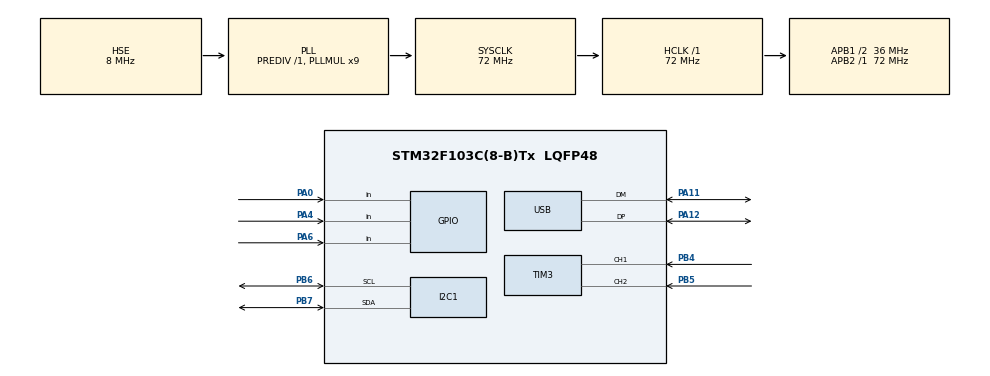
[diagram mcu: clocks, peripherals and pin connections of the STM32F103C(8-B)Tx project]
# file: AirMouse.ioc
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Mcu.Family=STM32F1
Mcu.Name=STM32F103C(8-B)Tx
Mcu.Package=LQFP48
NVIC.PriorityGroup=NVIC_PRIORITYGROUP_4
NVIC.TIM2_IRQn=true\:2\:0\:true\:false\:true\:true\:true\:true
NVIC.USB_HP_CAN1_TX_IRQn=true\:1\:0\:true\:false\:true\:true\:true\:true
NVIC.USB_LP_CAN1_RX0_IRQn=true\:0\:0\:false\:false\:true\:true\:true\:true
PA0-WKUP.GPIO_PuPd=GPIO_PULLUP
PA0-WKUP.Signal=GPIO_Input
PA11.Mode=Device
PA11.Signal=USB_DM
PA12.Mode=Device
PA12.Signal=USB_DP
PA13.Mode=Serial_Wire
PA13.Signal=SYS_JTMS-SWDIO
PA14.Mode=Serial_Wire
PA14.Signal=SYS_JTCK-SWCLK
PA4.GPIO_PuPd=GPIO_PULLUP
PA4.Signal=GPIO_Input
PA6.GPIO_PuPd=GPIO_PULLUP
PA6.Signal=GPIO_Input
PB4.Signal=S_TIM3_CH1
PB5.Signal=S_TIM3_CH2
PB6.Mode=I2C
PB6.Signal=I2C1_SCL
PB7.Mode=I2C
PB7.Signal=I2C1_SDA
PC14-OSC32_IN.Mode=LSE-External-Oscillator
PC14-OSC32_IN.Signal=RCC_OSC32_IN
PC15-OSC32_OUT.Mode=LSE-External-Oscillator
PC15-OSC32_OUT.Signal=RCC_OSC32_OUT
PD0-OSC_IN.Mode=HSE-External-Oscillator
PD0-OSC_IN.Signal=RCC_OSC_IN
PD1-OSC_OUT.Mode=HSE-External-Oscillator
PD1-OSC_OUT.Signal=RCC_OSC_OUT
ProjectManager.HeapSize=0x200
ProjectManager.StackSize=0x400
ProjectManager.TargetToolchain=CMake
RCC.AHBFreq_Value=72000000
RCC.APB1CLKDivider=RCC_HCLK_DIV2
RCC.APB1Freq_Value=36000000
RCC.APB1TimFreq_Value=72000000
RCC.APB2Freq_Value=72000000
RCC.APB2TimFreq_Value=72000000
RCC.HCLKFreq_Value=72000000
RCC.PLLMUL=RCC_PLL_MUL9
RCC.PLLSourceVirtual=RCC_PLLSOURCE_HSE
RCC.SYSCLKFreq_VALUE=72000000
RCC.SYSCLKSource=RCC_SYSCLKSOURCE_PLLCLK
RCC.USBFreq_Value=48000000
RCC.USBPrescaler=RCC_USBCLKSOURCE_PLL_DIV1_5
SH.S_TIM3_CH1.0=TIM3_CH1,Encoder_Interface
SH.S_TIM3_CH2.0=TIM3_CH2,Encoder_Interface
TIM2.AutoReloadPreload=TIM_AUTORELOAD_PRELOAD_ENABLE
TIM2.Period=99
TIM2.Prescaler=7199
USB_DEVICE.CLASS_NAME_FS=HID
USB_DEVICE.VirtualMode=Hid
USB_DEVICE.VirtualModeFS=Hid_FS
VP_TIM2_VS_ClockSourceINT.Mode=Internal
VP_USB_DEVICE_VS_USB_DEVICE_HID_FS.Mode=HID_FS
board=custom

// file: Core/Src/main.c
/* USER CODE BEGIN Header */
/**
  ******************************************************************************
  * @file           : main.c
  * @brief          : Main program body
  ******************************************************************************
  * @attention
  *
  * Copyright (c) 2026 STMicroelectronics.
  * All rights reserved.
  *
  * This software is licensed under terms that can be found in the LICENSE file
  * in the root directory of this software component.
  * If no LICENSE file comes with this software, it is provided AS-IS.
  *
  ******************************************************************************
  */
/* USER CODE END Header */
#include "main.h"
#include "i2c.h"
#include "tim.h"
#include "usb_device.h"
#include "gpio.h"

/* USER CODE BEGIN Includes */
#include "mpu6050.h"
#include "usbd_hid.h"
#include "mouse.h"
/* USER CODE END Includes */

/* USER CODE BEGIN PD */
// 空中鼠标参数
#define SENSITIVITY     13.6f     // 灵敏度（像素/度/秒），需实测调整
#define DT              0.01f    // 定时器周期 10ms = 0.01秒
#define DEAD_ZONE       1.5f     // 死区阈值（dps），小于此值忽略
/* USER CODE END PD */

/* USER CODE BEGIN PV */
extern USBD_HandleTypeDef hUsbDeviceFS;
/* USER CODE END PV */

void SystemClock_Config(void);
/* USER CODE BEGIN PFP */
//
//
/* USER CODE END PFP */

int main(void)
{

  /* MCU Configuration--------------------------------------------------------*/

  /* Reset of all peripherals, Initializes the Flash interface and the Systick. */
  HAL_Init();

  /* Configure the system clock */
  SystemClock_Config();

  /* Initialize all configured peripherals */
  MX_GPIO_Init();
  MX_I2C1_Init();
  MX_TIM2_Init();
  MX_USB_DEVICE_Init();
  MX_TIM3_Init();
  /* USER CODE BEGIN 2 */
  HAL_TIM_Encoder_Start(&htim3, TIM_CHANNEL_ALL);  // 启动编码器模式
  __HAL_TIM_SET_COUNTER(&htim3, 0);
  HAL_TIM_Base_Start_IT(&htim2);
            // 可选：计数器清零
  MPU6050_Init();
  MPU6050_Calibrate();
  Mahony_Init();

  /* USER CODE END 2 */

  /* Infinite loop */
  while (1)
  {
    //
    //
    //
    //
  }
}

void SystemClock_Config(void)
{
  RCC_OscInitTypeDef RCC_OscInitStruct = {0};
  RCC_ClkInitTypeDef RCC_ClkInitStruct = {0};
  RCC_PeriphCLKInitTypeDef PeriphClkInit = {0};

  /** Initializes the RCC Oscillators according to the specified parameters
  * in the RCC_OscInitTypeDef structure.
  */
  RCC_OscInitStruct.OscillatorType = RCC_OSCILLATORTYPE_HSE;
  RCC_OscInitStruct.HSEState = RCC_HSE_ON;
  RCC_OscInitStruct.HSEPredivValue = RCC_HSE_PREDIV_DIV1;
  RCC_OscInitStruct.HSIState = RCC_HSI_ON;
  RCC_OscInitStruct.PLL.PLLState = RCC_PLL_ON;
  RCC_OscInitStruct.PLL.PLLSource = RCC_PLLSOURCE_HSE;
  RCC_OscInitStruct.PLL.PLLMUL = RCC_PLL_MUL9;
  if (HAL_RCC_OscConfig(&RCC_OscInitStruct) != HAL_OK)
  {
    Error_Handler();
  }

  /** Initializes the CPU, AHB and APB buses clocks
  */
  RCC_ClkInitStruct.ClockType = RCC_CLOCKTYPE_HCLK|RCC_CLOCKTYPE_SYSCLK
                              |RCC_CLOCKTYPE_PCLK1|RCC_CLOCKTYPE_PCLK2;
  RCC_ClkInitStruct.SYSCLKSource = RCC_SYSCLKSOURCE_PLLCLK;
  RCC_ClkInitStruct.AHBCLKDivider = RCC_SYSCLK_DIV1;
  RCC_ClkInitStruct.APB1CLKDivider = RCC_HCLK_DIV2;
  RCC_ClkInitStruct.APB2CLKDivider = RCC_HCLK_DIV1;

  if (HAL_RCC_ClockConfig(&RCC_ClkInitStruct, FLASH_LATENCY_2) != HAL_OK)
  {
    Error_Handler();
  }
  PeriphClkInit.PeriphClockSelection = RCC_PERIPHCLK_USB;
  PeriphClkInit.UsbClockSelection = RCC_USBCLKSOURCE_PLL_DIV1_5;
  if (HAL_RCCEx_PeriphCLKConfig(&PeriphClkInit) != HAL_OK)
  {
    Error_Handler();
  }
}

/* USER CODE BEGIN 4 */
void OnTimerCallBack(void) {

  // Angal_To_MouseMove();
  Gyro_To_MouseMove();
}
/* USER CODE END 4 */

void Error_Handler(void)
{
  __disable_irq();
  while (1)
  {
  }
}
